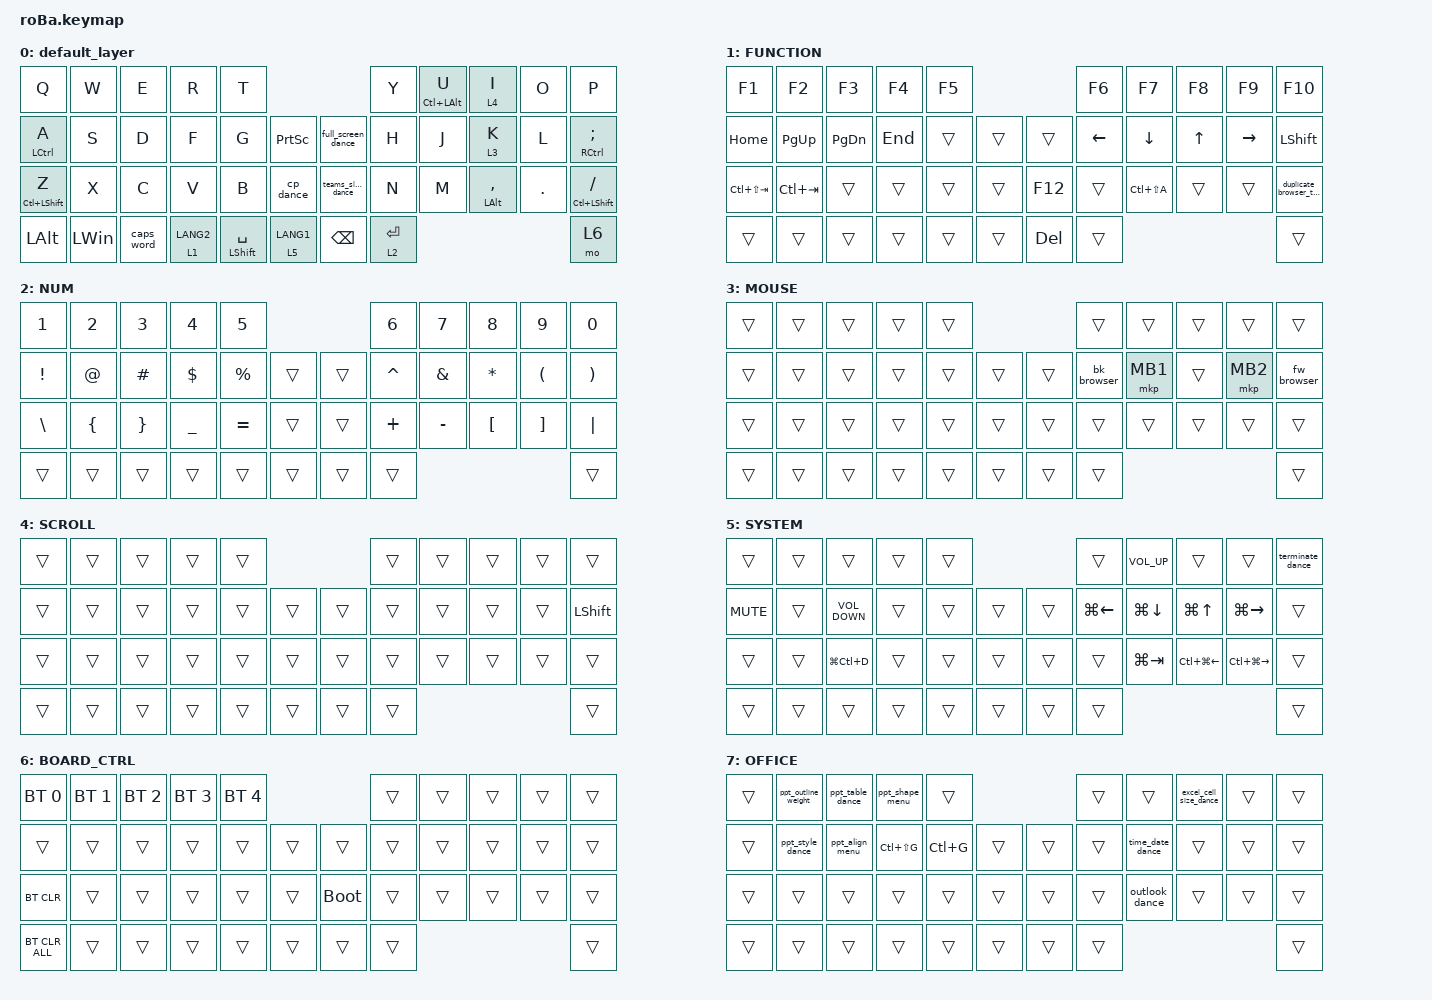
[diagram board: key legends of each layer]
#include <behaviors.dtsi>
#include <dt-bindings/zmk/bt.h>
#include <dt-bindings/zmk/keys.h>
#include <dt-bindings/zmk/pointing.h>

#define ZMK_MOUSE_DEFAULT_SCRL_VAL 100

&mt {
    flavor = "balanced";
    tapping-term-ms = <180>;
};

&lt {
    flavor = "hold-preferred";
    tapping-term-ms = <180>;
};

&trackball { scroll-layers = <4>; };

/ {
    combos {
        compatible = "zmk,combos";

        grave {
            bindings = <&kp GRAVE>;
            key-positions = <8 9>;
        };

        single_quote {
            bindings = <&kp SQT>;
            key-positions = <20 21>;
        };

        esc {
            bindings = <&kp ESC>;
            key-positions = <32 33>;
        };

        shift_tab {
            bindings = <&kp LS(TAB)>;
            key-positions = <2 3>;
        };

        quit {
            bindings = <&sys_window_terminate>;
            key-positions = <0 9>;
        };

        tab {
            bindings = <&kp TAB>;
            key-positions = <1 2>;
        };

        modify {
            bindings = <&mo 7>;
            key-positions = <37 41>;
            timeout-ms = <150>;
        };
    };

    macros {
        duplicate_browser_tab: duplicate_browser_tab {
            compatible = "zmk,behavior-macro";
            #binding-cells = <0>;
            bindings =
                <&macro_press>,
                <&kp LALT>,
                <&macro_press>,
                <&kp D>,
                <&macro_release>,
                <&kp D>,
                <&macro_press>,
                <&kp ENTER>,
                <&macro_release>,
                <&kp ENTER>,
                <&macro_release>,
                <&kp LALT>;

            label = "DUPLICATE_BROWSER_TAB";
            tap-ms = <100>;
        };

        bk_browser: bk_browser {
            compatible = "zmk,behavior-macro";
            #binding-cells = <0>;
            bindings =
                <&macro_press>,
                <&kp LALT>,
                <&macro_press>,
                <&kp LEFT_ARROW>,
                <&macro_release>,
                <&kp LEFT_ARROW>,
                <&macro_release>,
                <&kp LALT>;

            label = "BK_BROWSER";
            tap-ms = <100>;
        };

        fw_browser: fw_browser {
            compatible = "zmk,behavior-macro";
            #binding-cells = <0>;
            bindings =
                <&macro_press>,
                <&kp LALT>,
                <&macro_press>,
                <&kp RIGHT_ARROW>,
                <&macro_release>,
                <&kp RIGHT_ARROW>,
                <&macro_release>,
                <&kp LALT>;

            label = "FW_BROWSER";
            tap-ms = <100>;
        };

        rdp_fullscreen: rdp_fullscreen {
            compatible = "zmk,behavior-macro";
            #binding-cells = <0>;
            bindings =
                <&macro_press>,
                <&kp LALT>,
                <&macro_press>,
                <&kp LCTRL>,
                <&macro_press>,
                <&kp HOME>,
                <&macro_release>,
                <&kp HOME>,
                <&macro_release>,
                <&kp LCTRL>,
                <&macro_release>,
                <&kp LALT>;

            label = "RDP_FULLSCREEN";
            tap-ms = <100>;
        };

        pc_sleep: pc_sleep {
            compatible = "zmk,behavior-macro";
            #binding-cells = <0>;
            bindings = <&kp LG(X) &kp U &kp S>;
            label = "PC_SLEEP";
            wait-ms = <200>;
            tap-ms = <100>;
        };

        cp_path_open: cp_path_open {
            compatible = "zmk,behavior-macro";
            #binding-cells = <0>;
            bindings =
                <&mkp MB1 &mkp MB1 &mkp MB1 &kp LC(C)>,
                <&macro_wait_time 200>,
                <&macro_tap_time 100>,
                <&kp LG(R) &kp LC(V) &kp ENTER>,
                <&macro_wait_time 1000>,
                <&macro_tap>,
                <&none>;

            label = "CP_PATH_OPEN";
        };

        cp_line: cp_line {
            compatible = "zmk,behavior-macro";
            #binding-cells = <0>;
            bindings = <&mkp MB1 &mkp MB1 &mkp MB1 &kp LC(C)>;
            label = "CP_LINE";
        };

        cp_word: cp_word {
            compatible = "zmk,behavior-macro";
            #binding-cells = <0>;
            bindings = <&mkp MB1 &mkp MB1 &kp LC(C)>;
            label = "CP_WORD";
        };

        sys_terminate_rdp: sys_terminate {
            compatible = "zmk,behavior-macro";
            #binding-cells = <0>;
            bindings =
                <&macro_press>,
                <&kp LALT>,
                <&macro_press>,
                <&kp LCTRL>,
                <&macro_press>,
                <&kp END>,
                <&macro_release>,
                <&kp END>,
                <&macro_release>,
                <&kp LCTRL>,
                <&macro_release>,
                <&kp LALT>;

            label = "SYS_TERMINATE";
            tap-ms = <100>;
        };

        sys_window_terminate: sys_window_terminate {
            compatible = "zmk,behavior-macro";
            #binding-cells = <0>;
            bindings =
                <&macro_press>,
                <&kp LALT>,
                <&macro_press>,
                <&kp F4>,
                <&macro_release>,
                <&kp F4>,
                <&macro_release>,
                <&kp LALT>;

            label = "SYS_WINDOW_TERMINATE";
            tap-ms = <100>;
        };

        ppt_align_menu: ppt_align_menu {
            compatible = "zmk,behavior-macro";
            #binding-cells = <0>;
            bindings =
                <&macro_press>,
                <&kp LALT>,
                <&macro_tap>,
                <&kp H>,
                <&macro_tap>,
                <&kp G>,
                <&macro_tap>,
                <&kp A>,
                <&macro_release>,
                <&kp LALT>;

            label = "PPT_ALIGN_MENU";
            tap-ms = <100>;
        };

        ppt_outline_menu: ppt_outline_menu {
            compatible = "zmk,behavior-macro";
            #binding-cells = <0>;
            bindings =
                <&macro_press>,
                <&kp LALT>,
                <&macro_tap>,
                <&kp H>,
                <&macro_tap>,
                <&kp S>,
                <&macro_tap>,
                <&kp O>,
                <&macro_release>,
                <&kp LALT>;

            label = "PPT_OUTLINE_MENU";
            tap-ms = <100>;
        };

        ppt_fill_menu: ppt_fill_menu {
            compatible = "zmk,behavior-macro";
            #binding-cells = <0>;
            bindings =
                <&macro_press>,
                <&kp LALT>,
                <&macro_tap>,
                <&kp H>,
                <&macro_tap>,
                <&kp S>,
                <&macro_tap>,
                <&kp F>,
                <&macro_release>,
                <&kp LALT>;

            label = "PPT_FILL_MENU";
            tap-ms = <100>;
        };

        ppt_outline_weight: ppt_outline_weight {
            compatible = "zmk,behavior-macro";
            #binding-cells = <0>;
            bindings =
                <&macro_press>,
                <&kp LALT>,
                <&macro_tap>,
                <&kp H>,
                <&macro_tap>,
                <&kp S>,
                <&macro_tap>,
                <&kp O>,
                <&macro_tap>,
                <&kp W>,
                <&macro_release>,
                <&kp LALT>;

            label = "PPT_OUTLINE_WEIGHT";
            tap-ms = <100>;
        };

        ppt_table_dist_rows: ppt_table_dist_rows {
            compatible = "zmk,behavior-macro";
            #binding-cells = <0>;
            bindings =
                <&macro_press>,
                <&kp LALT>,
                <&macro_tap>,
                <&kp J>,
                <&macro_tap>,
                <&kp L>,
                <&macro_tap>,
                <&kp U>,
                <&macro_tap>,
                <&kp R>,
                <&macro_release>,
                <&kp LALT>;

            label = "PPT_TABLE_DIST_ROWS";
            tap-ms = <100>;
        };

        ppt_table_dist_cols: ppt_table_dist_cols {
            compatible = "zmk,behavior-macro";
            #binding-cells = <0>;
            bindings =
                <&macro_press>,
                <&kp LALT>,
                <&macro_tap>,
                <&kp J>,
                <&macro_tap>,
                <&kp L>,
                <&macro_tap>,
                <&kp U>,
                <&macro_tap>,
                <&kp C>,
                <&macro_release>,
                <&kp LALT>;

            label = "PPT_TABLE_DIST_COLS";
            tap-ms = <100>;
        };

        ppt_shape_menu: ppt_shape_menu {
            compatible = "zmk,behavior-macro";
            #binding-cells = <0>;
            bindings =
                <&macro_press>,
                <&kp LALT>,
                <&macro_tap>,
                <&kp H>,
                <&macro_tap>,
                <&kp S>,
                <&macro_tap>,
                <&kp H>,
                <&macro_release>,
                <&kp LALT>;

            label = "PPT_SHAPE_MENU";
            tap-ms = <100>;
        };

        excel_col_width_auto: excel_col_width_auto {
            compatible = "zmk,behavior-macro";
            #binding-cells = <0>;
            bindings =
                <&macro_press>,
                <&kp LALT>,
                <&macro_tap>,
                <&kp H>,
                <&macro_tap>,
                <&kp O>,
                <&macro_tap>,
                <&kp A>,
                <&macro_release>,
                <&kp LALT>;

            label = "EXCEL_COL_WIDTH_AUTO";
            tap-ms = <100>;
        };

        excel_row_height_auto: excel_row_height_auto {
            compatible = "zmk,behavior-macro";
            #binding-cells = <0>;
            bindings =
                <&macro_press>,
                <&kp LALT>,
                <&macro_tap>,
                <&kp H>,
                <&macro_tap>,
                <&kp O>,
                <&macro_tap>,
                <&kp I>,
                <&macro_release>,
                <&kp LALT>;

            label = "EXCEL_ROW_HEIGHT_AUTO";
            tap-ms = <100>;
        };
    };

    behaviors {
        cp_dance: cp_dance {
            compatible = "zmk,behavior-tap-dance";
            label = "CP_DANCE";
            #binding-cells = <0>;
            bindings = <&cp_word>, <&cp_line>, <&cp_path_open>;
        };

        teams_sleep_dance: teams_sleep_dance {
            compatible = "zmk,behavior-tap-dance";
            label = "TEAMS_SLEEP_DANCE";
            #binding-cells = <0>;
            bindings =
                <&kp LC(LS(X))>,
                <&kp LC(LS(M))>,
                <&kp LC(LS(O))>,
                <&pc_sleep>;
        };

        tap_pref_mt: tap_pref_mt {
            compatible = "zmk,behavior-hold-tap";
            label = "TAP_PREF_MT";
            bindings = <&kp>, <&kp>;

            #binding-cells = <2>;
            flavor = "tap-preferred";
            tapping-term-ms = <220>;
        };

        tap_pref_lt: tap_pref_lt {
            compatible = "zmk,behavior-hold-tap";
            label = "TAP_PREF_LT";
            bindings = <&mo>, <&kp>;

            #binding-cells = <2>;
            tapping-term-ms = <225>;
            flavor = "balanced";
        };

        full_screen_dance: full_screen_dance {
            compatible = "zmk,behavior-tap-dance";
            label = "FULL_SCREEN_DANCE";
            #binding-cells = <0>;
            bindings = <&kp F11>, <&rdp_fullscreen>;
        };

        hold_pref_mt: hold_pref_mt {
            compatible = "zmk,behavior-hold-tap";
            label = "HOLD_PREF_MT";
            bindings = <&kp>, <&kp>;

            #binding-cells = <2>;
            flavor = "hold-preferred";
            tapping-term-ms = <185>;
        };

        terminate_dance: terminate_dance {
            compatible = "zmk,behavior-tap-dance";
            label = "TERMINATE_DANCE";
            #binding-cells = <0>;
            bindings = <&kp LA(LC(DEL))>, <&sys_terminate_rdp>, <&cp_path_open>;
        };

        ppt_style_dance: ppt_style_dance {
            compatible = "zmk,behavior-tap-dance";
            label = "PPT_STYLE_DANCE";
            #binding-cells = <0>;
            bindings = <&ppt_outline_menu>, <&ppt_fill_menu>;
        };

        ppt_table_dance: ppt_table_dance {
            compatible = "zmk,behavior-tap-dance";
            label = "PPT_TABLE_DANCE";
            #binding-cells = <0>;
            tapping-term-ms = <400>;
            bindings = <&ppt_table_dist_cols>, <&ppt_table_dist_rows>;
        };

        excel_cell_size_dance: excel_cell_size_dance {
            compatible = "zmk,behavior-tap-dance";
            label = "EXCEL_CELL_SIZE_DANCE";
            #binding-cells = <0>;
            tapping-term-ms = <400>;
            bindings = <&excel_col_width_auto>, <&excel_row_height_auto>;
        };

        time_date_dance: time_date_dance {
            compatible = "zmk,behavior-tap-dance";
            label = "TIME_DATE_DANCE";
            #binding-cells = <0>;
            tapping-term-ms = <400>;
            bindings = <&kp LC(LS(SEMI))>, <&kp LC(SEMI)>;
        };

        outlook_dance: outlook_dance {
            compatible = "zmk,behavior-tap-dance";
            label = "OUTLOOK_DANCE";
            #binding-cells = <0>;
            tapping-term-ms = <400>;
            bindings = <&kp LC(N1)>, <&kp LC(N2)>, <&kp LC(N3)>;
        };
    };

    keymap {
        compatible = "zmk,keymap";

        default_layer {
            bindings = <
&kp Q                          &kp W         &kp E       &kp R        &kp T                                                                &kp Y        &tap_pref_mt LC(LALT) U  &tap_pref_lt 4 I         &kp O    &kp P
&tap_pref_mt LCTRL A           &kp S         &kp D       &kp F        &kp G                       &kp PRINTSCREEN      &full_screen_dance  &kp H        &kp J                    &tap_pref_lt 3 K         &kp L    &tap_pref_mt RCTRL SEMI
&tap_pref_mt LC(LEFT_SHIFT) Z  &kp X         &kp C       &kp V        &kp B                       &cp_dance            &teams_sleep_dance  &kp N        &kp M                    &tap_pref_mt LALT COMMA  &kp DOT  &tap_pref_mt LC(LEFT_SHIFT) SLASH
&kp LALT                       &kp LEFT_WIN  &caps_word  &lt 1 LANG2  &hold_pref_mt LSHIFT SPACE  &lt 5 LANG1          &kp BACKSPACE       &lt 2 ENTER                                                             &mo 6
            >;
        };

        FUNCTION {
            bindings = <
&kp F1           &kp F2       &kp F3         &kp F4   &kp F5                       &kp F6          &kp F7          &kp F8        &kp F9           &kp F10
&kp HOME         &kp PAGE_UP  &kp PAGE_DOWN  &kp END  &trans  &trans      &trans   &kp LEFT_ARROW  &kp DOWN_ARROW  &kp UP_ARROW  &kp RIGHT_ARROW  &kp LEFT_SHIFT
&kp LC(LS(TAB))  &kp LC(TAB)  &trans         &trans   &trans  &trans      &kp F12  &trans          &kp LC(LS(A))   &trans        &trans           &duplicate_browser_tab
&trans           &trans       &trans         &trans   &trans  &trans      &kp DEL  &trans                                                         &trans
            >;
        };

        NUM {
            bindings = <
&kp N1    &kp N2    &kp NUMBER_3  &kp NUMBER_4  &kp N5                         &kp NUMBER_6  &kp N7     &kp N8     &kp N9    &kp N0
&kp EXCL  &kp AT    &kp HASH      &kp DLLR      &kp PRCNT  &trans      &trans  &kp CARET     &kp AMPS   &kp ASTRK  &kp LPAR  &kp RPAR
&kp BSLH  &kp LBRC  &kp RBRC      &kp UNDER     &kp EQUAL  &trans      &trans  &kp PLUS      &kp MINUS  &kp LBKT   &kp RBKT  &kp PIPE
&trans    &trans    &trans        &trans        &trans     &trans      &trans  &trans                                        &trans
            >;
        };

        MOUSE {
            bindings = <
&trans  &trans  &trans  &trans  &trans                      &trans       &trans    &trans  &trans    &trans
&trans  &trans  &trans  &trans  &trans  &trans      &trans  &bk_browser  &mkp MB1  &trans  &mkp MB2  &fw_browser
&trans  &trans  &trans  &trans  &trans  &trans      &trans  &trans       &trans    &trans  &trans    &trans
&trans  &trans  &trans  &trans  &trans  &trans      &trans  &trans                                   &trans
            >;
        };

        SCROLL {
            bindings = <
&trans  &trans  &trans  &trans  &trans                      &trans  &trans  &trans  &trans  &trans
&trans  &trans  &trans  &trans  &trans  &trans      &trans  &trans  &trans  &trans  &trans  &kp LEFT_SHIFT
&trans  &trans  &trans  &trans  &trans  &trans      &trans  &trans  &trans  &trans  &trans  &trans
&trans  &trans  &trans  &trans  &trans  &trans      &trans  &trans                          &trans
            >;
        };

        SYSTEM {
            bindings = <
&trans      &trans  &trans             &trans  &trans                      &trans              &kp C_VOLUME_UP     &trans                  &trans                   &terminate_dance
&kp C_MUTE  &trans  &kp C_VOLUME_DOWN  &trans  &trans  &trans      &trans  &kp LG(LEFT_ARROW)  &kp LG(DOWN_ARROW)  &kp LG(UP_ARROW)        &kp LG(RIGHT_ARROW)      &trans
&trans      &trans  &kp LG(LC(D))      &trans  &trans  &trans      &trans  &trans              &kp LG(TAB)         &kp LC(LG(LEFT_ARROW))  &kp LC(LG(RIGHT_ARROW))  &trans
&trans      &trans  &trans             &trans  &trans  &trans      &trans  &trans                                                                                   &trans
            >;
        };

        BOARD_CTRL {
            bindings = <
&bt BT_SEL 0    &bt BT_SEL 1  &bt BT_SEL 2  &bt BT_SEL 3  &bt BT_SEL 4                           &trans  &trans  &trans  &trans  &trans
&trans          &trans        &trans        &trans        &trans        &trans      &trans       &trans  &trans  &trans  &trans  &trans
&bt BT_CLR      &trans        &trans        &trans        &trans        &trans      &bootloader  &trans  &trans  &trans  &trans  &trans
&bt BT_CLR_ALL  &trans        &trans        &trans        &trans        &trans      &trans       &trans                          &trans
            >;
        };

        OFFICE {
            bindings = <
&trans  &ppt_outline_weight  &ppt_table_dance  &ppt_shape_menu  &trans                         &trans  &trans            &excel_cell_size_dance  &trans  &trans
&trans  &ppt_style_dance     &ppt_align_menu   &kp LC(LS(G))    &kp LC(G)  &trans      &trans  &trans  &time_date_dance  &trans                  &trans  &trans
&trans  &trans               &trans            &trans           &trans     &trans      &trans  &trans  &outlook_dance    &trans                  &trans  &trans
&trans  &trans               &trans            &trans           &trans     &trans      &trans  &trans                                                    &trans
            >;
        };
    };
};
